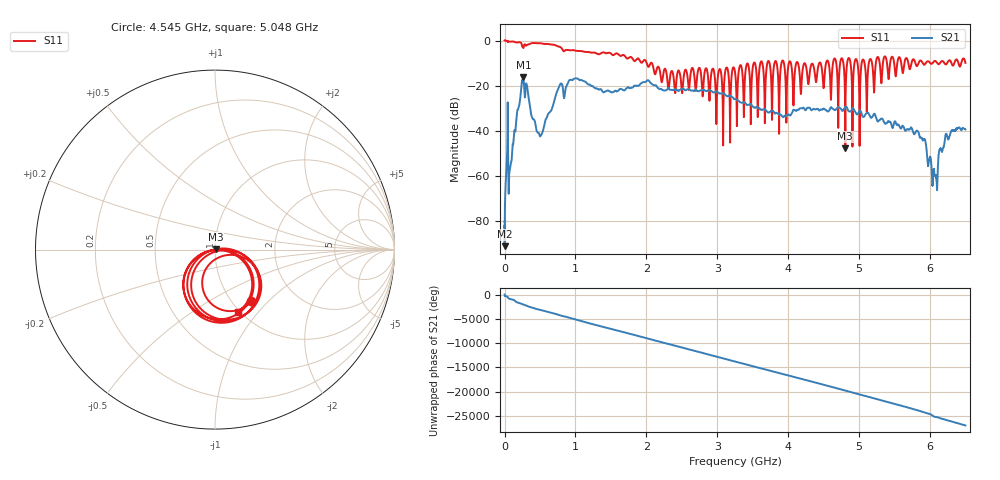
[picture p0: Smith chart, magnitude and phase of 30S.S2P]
!Keysight Technologies,E5063A,MY54503115,A.05.08
!Date: Mon Mar 04 16:13:26 2024
!Data & Calibration Information:
!Freq	S11:NONE(--)	S21:NONE(--)	S12:NONE(--)	S22:NONE(--)
# Hz S dB R 50
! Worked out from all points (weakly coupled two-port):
!   10001 points, 100 kHz to 6.5 GHz, reference 50 ohm
!   highest |S21| = -16.35 dB at 265.3 MHz (marker M1); lowest = -91.2 dB at 1.4 MHz (marker M2)
!   lowest |S11| = -47.8 dB at 4.806 GHz (marker M3), VSWR 1.01, Z = 50.3 + j0.218 ohm
!   |S11| at or under -10 dB: 2.078 GHz to 3.514 GHz (1.437 GHz wide, 51.4 % of centre); 4.138 GHz to 4.438 GHz (300 MHz wide, 7 % of centre); 4.457 GHz to 4.534 GHz (77.13 MHz wide, 1.72 % of centre) (the widest 3 of 29)
!   S12 and S22 are empty: the file has one direction only
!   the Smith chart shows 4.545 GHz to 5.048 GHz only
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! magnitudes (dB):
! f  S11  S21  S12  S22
! 100 kHz  0.0  -82.9  -  -
! 1.4 MHz  0.0  -91.2  -  -
! 40.4 MHz  -0.2  -43.2  -  -
! 84.6 MHz  -0.5  -55.1  -  -
! 265.3 MHz  -3.3  -16.3  -  -
! 500.6 MHz  -1.2  -42.5  -  -
! 779.4 MHz  -2.8  -19.7  -  -
! 1.084 GHz  -4.7  -17.5  -  -
! 2.167 GHz  -11.6  -21.1  -  -
! 3.25 GHz  -13.9  -25.9  -  -
! 4.334 GHz  -10.3  -30.9  -  -
! 4.806 GHz  -47.8  -29.4  -  -
! 4.856 GHz  -7.7  -31.4  -  -
! 4.906 GHz  -37.5  -30.1  -  -
! 4.956 GHz  -8.2  -32.2  -  -
! 5.006 GHz  -33.7  -31.1  -  -
! 5.057 GHz  -8.4  -33.9  -  -
! 5.417 GHz  -17.1  -35.8  -  -
! 5.831 GHz  -10.7  -40.3  -  -
! 6.07 GHz  -9.0  -59.6  -  -
! 6.232 GHz  -10.5  -41.4  -  -
! 6.5 GHz  -9.9  -39.5  -  -
